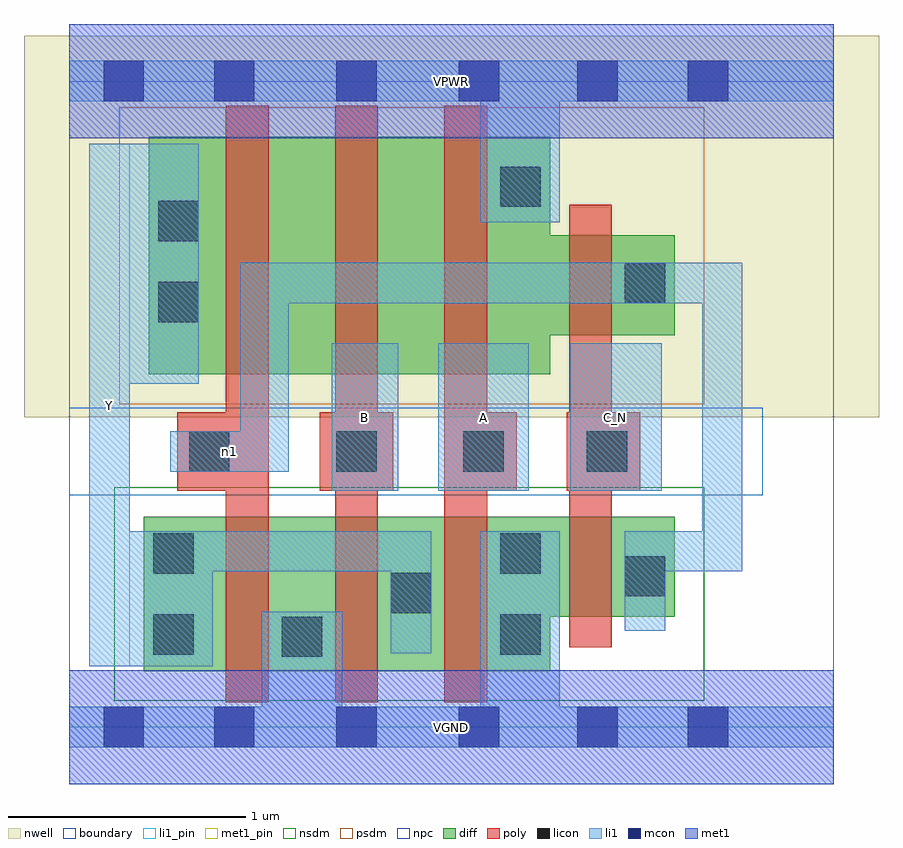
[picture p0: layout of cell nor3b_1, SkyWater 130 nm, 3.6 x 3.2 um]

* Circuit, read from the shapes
.subckt nor3b_1 A B C_N VGND VPWR Y n1
XM1 VGND n1 Y VSUBS sky130_fd_pr__nfet_01v8 w=0.65 l=0.18
XM2 Y B VGND VSUBS sky130_fd_pr__nfet_01v8 w=0.65 l=0.18
XM3 VGND A Y VSUBS sky130_fd_pr__nfet_01v8 w=0.65 l=0.18
XM4 n1 C_N VGND VSUBS sky130_fd_pr__nfet_01v8 w=0.42 l=0.18
XM5 n2 n1 Y n3 sky130_fd_pr__pfet_01v8 w=1 l=0.18
XM6 n4 B n2 n3 sky130_fd_pr__pfet_01v8 w=1 l=0.18
XM7 VPWR A n4 n3 sky130_fd_pr__pfet_01v8 w=1 l=0.18
XM8 n1 C_N VPWR n3 sky130_fd_pr__pfet_01v8 w=0.42 l=0.18
.ends

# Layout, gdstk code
import gdstk
lib = gdstk.Library(unit=1e-6, precision=1e-09)
def R(c, l, rs):  # rectangles x0, y0, x1, y1
    for r in rs: c.add(gdstk.rectangle(r[:2], r[2:], *l))
def A(c, l, x, y, w, h, nx, ny, dx, dy):  # array of equal rectangles
    R(c, l, [(x+i*dx, y+j*dy, x+i*dx+w, y+j*dy+h) for i in range(nx) for j in range(ny)])
nwell = (64, 20)
diff = (65, 20)
poly = (66, 20)
licon = (66, 44)
li1_pin = (67, 16)
li1 = (67, 20)
mcon = (67, 44)
met1_pin = (68, 16)
met1 = (68, 20)
nsdm = (93, 44)
psdm = (94, 20)
npc = (95, 20)
boundary = (235, 4)

nor3b_1 = lib.new_cell('nor3b_1')
R(nor3b_1, nwell, [(-0.19,1.305,3.41,2.91), (0,1.305,3.22,2.91)])
R(nor3b_1, diff, [(0.315,0.235,2.025,0.885), (0.315,0.465,2.55,0.885), (0.335,1.485,2.025,2.485), (0.335,1.65,2.55,2.07)])
A(nor3b_1, poly, 0.66, 0.105, 0.18, 2.51, 3, 1, 0.46, 0)
R(nor3b_1, poly, [(2.105,0.335,2.285,2.2), (0.455,0.995,0.84,1.325), (1.055,0.995,1.365,1.325), (1.58,0.995,1.885,1.325), (2.095,0.995,2.405,1.325)])
R(nor3b_1, licon, [(0.895,0.295,1.065,0.465), (0.355,0.305,0.525,0.475), (1.815,0.305,1.985,0.475), (1.355,0.48,1.525,0.65), (2.34,0.55,2.51,0.72), (0.355,0.645,0.525,0.815), (1.815,0.645,1.985,0.815), (0.505,1.075,0.675,1.245), (1.125,1.075,1.295,1.245), (1.66,1.075,1.83,1.245), (2.18,1.075,2.35,1.245), (0.375,1.705,0.545,1.875), (2.34,1.785,2.51,1.955), (0.375,2.045,0.545,2.215), (1.815,2.19,1.985,2.36)])
R(nor3b_1, li1_pin, [(0.085,0.255,0.255,2.455), (1.105,0.995,1.385,1.615), (1.555,0.995,1.935,1.615), (2.11,0.995,2.495,1.615)])
R(nor3b_1, li1, [(0,-0.085,3.22,0.085), (0.81,-0.085,1.15,0.485), (1.73,-0.085,2.065,0.825), (0.085,0.255,0.605,0.825), (0.085,0.255,0.255,2.455), (1.355,0.31,1.525,0.825), (2.34,0.405,2.51,0.825), (0.085,0.655,1.525,0.825), (2.34,0.655,2.835,0.825), (2.665,0.655,2.835,1.955), (1.105,0.995,1.385,1.615), (1.555,0.995,1.935,1.615), (2.11,0.995,2.495,1.615), (0.425,1.075,0.925,1.245), (0.72,1.075,0.925,1.955), (0.085,1.445,0.545,2.455), (0.72,1.785,2.835,1.955), (1.73,2.125,2.065,2.805), (0,2.635,3.22,2.805)])
A(nor3b_1, mcon, 0.61, -0.085, 0.17, 0.17, 3, 2, 0.515, 2.72)
R(nor3b_1, mcon, [(0.145,-0.085,0.315,0.085), (2.14,-0.085,2.31,0.085), (2.605,-0.085,2.775,0.085), (0.145,2.635,0.315,2.805), (2.14,2.635,2.31,2.805), (2.605,2.635,2.775,2.805)])
R(nor3b_1, met1_pin, [(0,-0.24,3.22,0.24), (0,2.48,3.22,2.96)])
R(nor3b_1, met1, [(0,-0.24,3.22,0.24), (0,2.48,3.22,2.96)])
R(nor3b_1, nsdm, [(0.19,0.11,2.675,1.01)])
R(nor3b_1, psdm, [(0.21,1.36,2.675,2.61)])
R(nor3b_1, npc, [(0,0.975,2.92,1.345)])
R(nor3b_1, boundary, [(0,0,3.22,2.72)])
nor3b_1.add(gdstk.Label('A', (1.745,1.305), layer=67, texttype=5))
nor3b_1.add(gdstk.Label('B', (1.245,1.305), layer=67, texttype=5))
nor3b_1.add(gdstk.Label('C_N', (2.302,1.305), layer=67, texttype=5))
nor3b_1.add(gdstk.Label('Y', (0.17,1.355), layer=67, texttype=5))
nor3b_1.add(gdstk.Label('n1', (0.675,1.16), layer=67, texttype=5))
nor3b_1.add(gdstk.Label('VPWR', (1.61,2.72), layer=68, texttype=5))
nor3b_1.add(gdstk.Label('VGND', (1.61,0), layer=68, texttype=5))
nor3b_1.add(gdstk.Label('A', (1.745,1.305), layer=67, texttype=16))
nor3b_1.add(gdstk.Label('B', (1.245,1.305), layer=67, texttype=16))
nor3b_1.add(gdstk.Label('C_N', (2.302,1.305), layer=67, texttype=16))
nor3b_1.add(gdstk.Label('Y', (0.17,1.355), layer=67, texttype=16))
nor3b_1.add(gdstk.Label('VPWR', (1.61,2.72), layer=68, texttype=16))
nor3b_1.add(gdstk.Label('VGND', (1.61,0), layer=68, texttype=16))

lib.write_gds('nor3b_1.gds')
